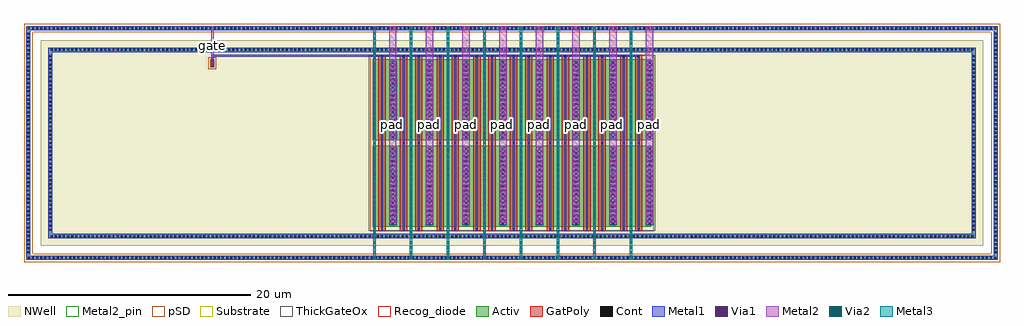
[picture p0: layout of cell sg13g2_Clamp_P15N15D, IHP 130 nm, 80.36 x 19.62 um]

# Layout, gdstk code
import gdstk
lib = gdstk.Library(unit=1e-6, precision=1e-09)
def R(c, l, rs):  # rectangles x0, y0, x1, y1
    for r in rs: c.add(gdstk.rectangle(r[:2], r[2:], *l))
def A(c, l, x, y, w, h, nx, ny, dx, dy):  # array of equal rectangles
    R(c, l, [(x+i*dx, y+j*dy, x+i*dx+w, y+j*dy+h) for i in range(nx) for j in range(ny)])
def P(c, l, *ps):  # polygons
    for p in ps: c.add(gdstk.Polygon(p, *l))
Activ = (1, 0)
GatPoly = (5, 0)
Cont = (6, 0)
Metal1 = (8, 0)
Metal2 = (10, 0)
Metal2_pin = (10, 2)
pSD = (14, 0)
Via1 = (19, 0)
Via2 = (29, 0)
Metal3 = (30, 0)
NWell = (31, 0)
Substrate = (40, 0)
ThickGateOx = (44, 0)
Recog_diode = (99, 31)

sg13g2_guardring_p16000w = lib.new_cell('sg13g2_GuardRing_P16000W3852HFF')
P(sg13g2_guardring_p16000w, Activ, [(-40,-9.63),(-40,9.29),(-39.66,9.29),(-39.66,-9.29),(39.66,-9.29),(39.66,9.29),(-40,9.29),(-40,9.63),(40,9.63),(40,-9.63)])
A(sg13g2_guardring_p16000w, Cont, -39.86, -9.54, 0.16, 0.16, 235, 2, 0.34, 18.92)
A(sg13g2_guardring_p16000w, Cont, -39.91, -9.09, 0.16, 0.16, 1, 54, 0, 0.34)
A(sg13g2_guardring_p16000w, Cont, 39.75, -9.09, 0.16, 0.16, 1, 54, 0, 0.34)
P(sg13g2_guardring_p16000w, Metal1, [(-40,-9.63),(-40,9.29),(-39.66,9.29),(-39.66,-9.29),(39.66,-9.29),(39.66,9.29),(-40,9.29),(-40,9.63),(40,9.63),(40,-9.63)])
P(sg13g2_guardring_p16000w, pSD, [(-40.18,-9.81),(-40.18,9.11),(-39.48,9.11),(-39.48,-9.11),(39.48,-9.11),(39.48,9.11),(-40.18,9.11),(-40.18,9.81),(40.18,9.81),(40.18,-9.81)])
P(sg13g2_guardring_p16000w, Substrate, [(-40,-9.63),(-40,9.29),(-39.66,9.29),(-39.66,-9.29),(39.66,-9.29),(39.66,9.29),(-40,9.29),(-40,9.63),(40,9.63),(40,-9.63)])
sg13g2_guardring_p16000w.add(gdstk.Label('sub!', (-39.83,-9.46), layer=63, texttype=0))

sg13g2_guardring_n15280w = lib.new_cell('sg13g2_GuardRing_N15280W3132HTF')
P(sg13g2_guardring_n15280w, Activ, [(-38.2,-7.83),(-38.2,7.49),(-37.86,7.49),(-37.86,-7.49),(37.86,-7.49),(37.86,7.49),(-38.2,7.49),(-38.2,7.83),(38.2,7.83),(38.2,-7.83)])
A(sg13g2_guardring_n15280w, Cont, -37.99, -7.74, 0.16, 0.16, 224, 2, 0.34, 15.32)
A(sg13g2_guardring_n15280w, Cont, -38.11, -7.22, 0.16, 0.16, 1, 43, 0, 0.34)
A(sg13g2_guardring_n15280w, Cont, 37.95, -7.22, 0.16, 0.16, 1, 43, 0, 0.34)
P(sg13g2_guardring_n15280w, Metal1, [(-38.2,-7.83),(-38.2,7.49),(-37.86,7.49),(-37.86,-7.49),(37.86,-7.49),(37.86,7.49),(-38.2,7.49),(-38.2,7.83),(38.2,7.83),(38.2,-7.83)])
R(sg13g2_guardring_n15280w, NWell, [(-38.82,-8.45,38.82,8.45)])

sg13g2_clamp_p15n15d = lib.new_cell('sg13g2_Clamp_P15N15D')
R(sg13g2_clamp_p15n15d, Activ, [(28.525,2.75,51.475,9.41), (28.525,9.85,51.475,16.51), (15.18,15.87,15.48,16.51)])
R(sg13g2_clamp_p15n15d, GatPoly, [(28.995,2.38,29.595,16.88), (30.775,2.38,31.375,16.88), (32.015,2.38,32.615,16.88), (33.795,2.38,34.395,16.88), (35.035,2.38,35.635,16.88), (36.815,2.38,37.415,16.88), (38.055,2.38,38.655,16.88), (39.835,2.38,40.435,16.88), (41.075,2.38,41.675,16.88), (42.855,2.38,43.455,16.88), (44.095,2.38,44.695,16.88), (45.875,2.38,46.475,16.88), (47.115,2.38,47.715,16.88), (48.895,2.38,49.495,16.88), (50.135,2.38,50.735,16.88)])
A(sg13g2_clamp_p15n15d, Cont, 29.215, 2.45, 0.16, 0.16, 1, 3, 0, 7.1)
A(sg13g2_clamp_p15n15d, Cont, 30.995, 2.45, 0.16, 0.16, 1, 3, 0, 7.1)
A(sg13g2_clamp_p15n15d, Cont, 32.235, 2.45, 0.16, 0.16, 1, 3, 0, 7.1)
A(sg13g2_clamp_p15n15d, Cont, 34.015, 2.45, 0.16, 0.16, 1, 3, 0, 7.1)
A(sg13g2_clamp_p15n15d, Cont, 35.255, 2.45, 0.16, 0.16, 1, 3, 0, 7.1)
A(sg13g2_clamp_p15n15d, Cont, 37.035, 2.45, 0.16, 0.16, 1, 3, 0, 7.1)
A(sg13g2_clamp_p15n15d, Cont, 38.275, 2.45, 0.16, 0.16, 1, 3, 0, 7.1)
A(sg13g2_clamp_p15n15d, Cont, 40.055, 2.45, 0.16, 0.16, 1, 3, 0, 7.1)
A(sg13g2_clamp_p15n15d, Cont, 41.295, 2.45, 0.16, 0.16, 1, 3, 0, 7.1)
A(sg13g2_clamp_p15n15d, Cont, 43.075, 2.45, 0.16, 0.16, 1, 3, 0, 7.1)
A(sg13g2_clamp_p15n15d, Cont, 44.315, 2.45, 0.16, 0.16, 1, 3, 0, 7.1)
A(sg13g2_clamp_p15n15d, Cont, 46.095, 2.45, 0.16, 0.16, 1, 3, 0, 7.1)
A(sg13g2_clamp_p15n15d, Cont, 47.335, 2.45, 0.16, 0.16, 1, 3, 0, 7.1)
A(sg13g2_clamp_p15n15d, Cont, 49.115, 2.45, 0.16, 0.16, 1, 3, 0, 7.1)
A(sg13g2_clamp_p15n15d, Cont, 50.355, 2.45, 0.16, 0.16, 1, 3, 0, 7.1)
A(sg13g2_clamp_p15n15d, Cont, 28.595, 2.94, 0.16, 0.16, 16, 19, 1.51, 0.34)
A(sg13g2_clamp_p15n15d, Cont, 28.595, 10.04, 0.16, 0.16, 16, 19, 1.51, 0.34)
R(sg13g2_clamp_p15n15d, Cont, [(15.25,15.94,15.41,16.1), (15.25,16.28,15.41,16.44)])
A(sg13g2_clamp_p15n15d, Metal1, 28.57, 1.8, 0.21, 0.34, 8, 2, 3.02, 15.32)
A(sg13g2_clamp_p15n15d, Metal1, 28.57, 2.86, 0.21, 6.44, 8, 2, 3.02, 7.1)
A(sg13g2_clamp_p15n15d, Metal1, 29.875, 2.86, 0.62, 6.44, 8, 2, 3.02, 7.1)
P(sg13g2_clamp_p15n15d, Metal1, [(29.215,2.37),(29.215,16.73),(15.435,16.73),(15.435,15.86),(15.225,15.86),(15.225,16.89),(50.515,16.89),(50.515,2.37),(50.355,2.37),(50.355,16.73),(49.275,16.73),(49.275,2.37),(49.115,2.37),(49.115,16.73),(47.495,16.73),(47.495,2.37),(47.335,2.37),(47.335,16.73),(46.255,16.73),(46.255,2.37),(46.095,2.37),(46.095,16.73),(44.475,16.73),(44.475,2.37),(44.315,2.37),(44.315,16.73),(43.235,16.73),(43.235,2.37),(43.075,2.37),(43.075,16.73),(41.455,16.73),(41.455,2.37),(41.295,2.37),(41.295,16.73),(40.215,16.73),(40.215,2.37),(40.055,2.37),(40.055,16.73),(38.435,16.73),(38.435,2.37),(38.275,2.37),(38.275,16.73),(37.195,16.73),(37.195,2.37),(37.035,2.37),(37.035,16.73),(35.415,16.73),(35.415,2.37),(35.255,2.37),(35.255,16.73),(34.175,16.73),(34.175,2.37),(34.015,2.37),(34.015,16.73),(32.395,16.73),(32.395,2.37),(32.235,2.37),(32.235,16.73),(31.155,16.73),(31.155,2.37),(30.995,2.37),(30.995,16.73),(29.375,16.73),(29.375,2.37)])
A(sg13g2_clamp_p15n15d, Metal2, 28.575, 0, 0.2, 19.26, 8, 1, 3.02, 0)
A(sg13g2_clamp_p15n15d, Metal2, 29.88, 3.065, 0.61, 16.195, 8, 1, 3.02, 0)
R(sg13g2_clamp_p15n15d, Metal2, [(15.23,16.025,15.43,19.26)])
A(sg13g2_clamp_p15n15d, Metal2_pin, 29.88, 3.065, 0.61, 16.195, 8, 1, 3.02, 0)
R(sg13g2_clamp_p15n15d, Metal2_pin, [(15.23,16.025,15.43,19.26)])
R(sg13g2_clamp_p15n15d, pSD, [(28.345,2.35,51.655,16.91), (15,15.69,15.66,16.69)])
A(sg13g2_clamp_p15n15d, Via1, 28.58, 1.875, 0.19, 0.19, 8, 2, 3.02, 15.32)
A(sg13g2_clamp_p15n15d, Via1, 28.58, 3.115, 0.19, 0.19, 1, 15, 0, 0.41)
A(sg13g2_clamp_p15n15d, Via1, 29.885, 3.115, 0.19, 0.19, 1, 15, 0, 0.41)
A(sg13g2_clamp_p15n15d, Via1, 30.295, 3.115, 0.19, 0.19, 3, 15, 1.305, 0.41)
A(sg13g2_clamp_p15n15d, Via1, 33.315, 3.115, 0.19, 0.19, 3, 15, 1.305, 0.41)
A(sg13g2_clamp_p15n15d, Via1, 36.335, 3.115, 0.19, 0.19, 3, 15, 1.305, 0.41)
A(sg13g2_clamp_p15n15d, Via1, 39.355, 3.115, 0.19, 0.19, 3, 15, 1.305, 0.41)
A(sg13g2_clamp_p15n15d, Via1, 42.375, 3.115, 0.19, 0.19, 3, 15, 1.305, 0.41)
A(sg13g2_clamp_p15n15d, Via1, 45.395, 3.115, 0.19, 0.19, 3, 15, 1.305, 0.41)
A(sg13g2_clamp_p15n15d, Via1, 48.415, 3.115, 0.19, 0.19, 3, 15, 1.305, 0.41)
A(sg13g2_clamp_p15n15d, Via1, 51.435, 3.115, 0.19, 0.19, 1, 15, 0, 0.41)
A(sg13g2_clamp_p15n15d, Via1, 28.58, 10.215, 0.19, 0.19, 1, 15, 0, 0.41)
A(sg13g2_clamp_p15n15d, Via1, 29.885, 10.215, 0.19, 0.19, 1, 15, 0, 0.41)
A(sg13g2_clamp_p15n15d, Via1, 30.295, 10.215, 0.19, 0.19, 3, 15, 1.305, 0.41)
A(sg13g2_clamp_p15n15d, Via1, 33.315, 10.215, 0.19, 0.19, 3, 15, 1.305, 0.41)
A(sg13g2_clamp_p15n15d, Via1, 36.335, 10.215, 0.19, 0.19, 3, 15, 1.305, 0.41)
A(sg13g2_clamp_p15n15d, Via1, 39.355, 10.215, 0.19, 0.19, 3, 15, 1.305, 0.41)
A(sg13g2_clamp_p15n15d, Via1, 42.375, 10.215, 0.19, 0.19, 3, 15, 1.305, 0.41)
A(sg13g2_clamp_p15n15d, Via1, 45.395, 10.215, 0.19, 0.19, 3, 15, 1.305, 0.41)
A(sg13g2_clamp_p15n15d, Via1, 48.415, 10.215, 0.19, 0.19, 3, 15, 1.305, 0.41)
A(sg13g2_clamp_p15n15d, Via1, 51.435, 10.215, 0.19, 0.19, 1, 15, 0, 0.41)
R(sg13g2_clamp_p15n15d, Via1, [(15.235,16.075,15.425,16.265), (15.235,16.485,15.425,16.675)])
A(sg13g2_clamp_p15n15d, Via2, 28.58, 0.105, 0.19, 0.19, 8, 47, 3.02, 0.41)
A(sg13g2_clamp_p15n15d, Metal3, 28.575, 0.055, 0.2, 19.15, 8, 1, 3.02, 0)
R(sg13g2_clamp_p15n15d, NWell, [(27.905,2.13,52.095,17.13), (14.56,15.25,16.1,17.13)])
R(sg13g2_clamp_p15n15d, ThickGateOx, [(28.185,2.41,51.815,16.85)])
R(sg13g2_clamp_p15n15d, Recog_diode, [(15.16,15.85,15.5,16.53)])
sg13g2_clamp_p15n15d.add(gdstk.Reference(sg13g2_guardring_p16000w, (40,9.63)))
sg13g2_clamp_p15n15d.add(gdstk.Reference(sg13g2_guardring_n15280w, (40,9.63)))
sg13g2_clamp_p15n15d.add(gdstk.Label('pad', (45.285,11.163), layer=10, texttype=25))
sg13g2_clamp_p15n15d.add(gdstk.Label('pad', (51.325,11.163), layer=10, texttype=25))
sg13g2_clamp_p15n15d.add(gdstk.Label('pad', (42.265,11.163), layer=10, texttype=25))
sg13g2_clamp_p15n15d.add(gdstk.Label('pad', (48.305,11.163), layer=10, texttype=25))
sg13g2_clamp_p15n15d.add(gdstk.Label('pad', (36.225,11.163), layer=10, texttype=25))
sg13g2_clamp_p15n15d.add(gdstk.Label('pad', (33.205,11.163), layer=10, texttype=25))
sg13g2_clamp_p15n15d.add(gdstk.Label('pad', (39.245,11.163), layer=10, texttype=25))
sg13g2_clamp_p15n15d.add(gdstk.Label('pad', (30.185,11.163), layer=10, texttype=25))
sg13g2_clamp_p15n15d.add(gdstk.Label('gate', (15.33,17.643), layer=10, texttype=25))

lib.write_gds('sg13g2_Clamp_P15N15D.gds')
